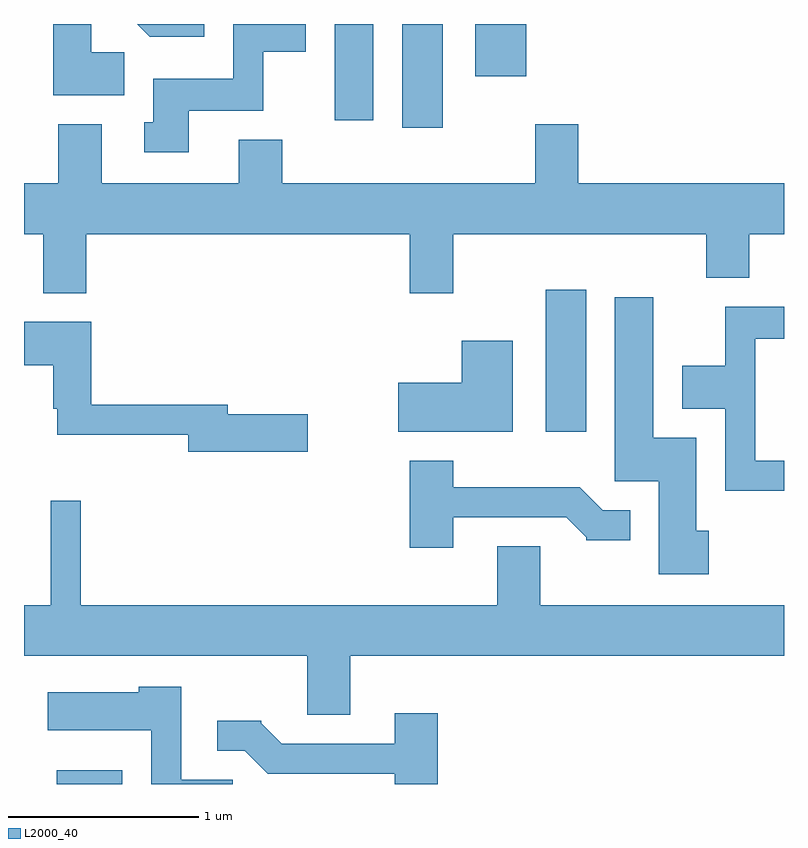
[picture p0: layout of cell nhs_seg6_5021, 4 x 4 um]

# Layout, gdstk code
import gdstk
lib = gdstk.Library(unit=1e-6, precision=1e-09)
def R(c, l, rs):  # rectangles x0, y0, x1, y1
    for r in rs: c.add(gdstk.rectangle(r[:2], r[2:], *l))
def P(c, l, *ps):  # polygons
    for p in ps: c.add(gdstk.Polygon(p, *l))
L2000_40 = (2000, 40)

nhs_seg6_5021 = lib.new_cell('nhs_seg6_5021')
R(nhs_seg6_5021, L2000_40, [(337.783,1638.162,338.129,1638.234), (340.356,1640.016,340.569,1640.764), (339.601,1641.616,339.814,1642.162), (339.246,1641.656,339.449,1642.162), (339.986,1641.886,340.254,1642.162)])
P(nhs_seg6_5021, L2000_40, [(338.559,1642.162),(338.208,1642.162),(338.274,1642.096),(338.559,1642.096)],
  [(338.479,1641.706),(338.869,1641.706),(338.869,1642.016),(339.094,1642.016),(339.094,1642.162),(338.711,1642.162),(338.711,1641.874),(338.291,1641.874),(338.291,1641.644),(338.243,1641.644),(338.243,1641.486),(338.479,1641.486)],
  [(338.139,1642.014),(337.964,1642.014),(337.964,1642.162),(337.766,1642.162),(337.766,1641.786),(338.139,1641.786)],
  [(337.939,1641.056),(339.641,1641.056),(339.641,1640.746),(339.869,1640.746),(339.869,1641.056),(341.201,1641.056),(341.201,1640.826),(341.429,1640.826),(341.429,1641.056),(341.611,1641.056),(341.611,1641.324),(340.529,1641.324),(340.529,1641.634),(340.301,1641.634),(340.301,1641.324),(338.969,1641.324),(338.969,1641.554),(338.741,1641.554),(338.741,1641.324),(338.019,1641.324),(338.019,1641.634),(337.791,1641.634),(337.791,1641.324),(337.611,1641.324),(337.611,1641.056),(337.711,1641.056),(337.711,1640.746),(337.939,1640.746)],
  [(341.214,1639.494),(341.149,1639.494),(341.149,1639.984),(340.924,1639.984),(340.924,1640.724),(340.721,1640.724),(340.721,1639.756),(340.951,1639.756),(340.951,1639.266),(341.214,1639.266)],
  [(341.611,1639.864),(341.459,1639.864),(341.459,1640.506),(341.611,1640.506),(341.611,1640.674),(341.301,1640.674),(341.301,1640.364),(341.076,1640.364),(341.076,1640.136),(341.301,1640.136),(341.301,1639.706),(341.611,1639.706)],
  [(339.104,1640.109),(338.684,1640.109),(338.684,1640.159),(337.964,1640.159),(337.964,1640.594),(337.611,1640.594),(337.611,1640.366),(337.766,1640.366),(337.766,1640.136),(337.786,1640.136),(337.786,1640.001),(338.476,1640.001),(338.476,1639.911),(339.104,1639.911)],
  [(340.184,1640.494),(339.916,1640.494),(339.916,1640.274),(339.581,1640.274),(339.581,1640.016),(340.184,1640.016)],
  [(339.869,1639.566),(340.464,1639.566),(340.57,1639.46),(340.57,1639.446),(340.803,1639.446),(340.803,1639.604),(340.657,1639.604),(340.537,1639.724),(339.869,1639.724),(339.869,1639.864),(339.641,1639.864),(339.641,1639.406),(339.869,1639.406)],
  [(339.329,1638.836),(341.611,1638.836),(341.611,1639.104),(340.329,1639.104),(340.329,1639.414),(340.101,1639.414),(340.101,1639.104),(337.909,1639.104),(337.909,1639.653),(337.751,1639.653),(337.751,1639.104),(337.611,1639.104),(337.611,1638.836),(339.101,1638.836),(339.101,1638.526),(339.329,1638.526)],
  [(338.709,1638.184),(338.439,1638.184),(338.439,1638.674),(338.216,1638.674),(338.216,1638.644),(337.736,1638.644),(337.736,1638.446),(338.281,1638.446),(338.281,1638.162),(338.709,1638.162)],
  [(339.789,1638.534),(339.561,1638.534),(339.561,1638.374),(338.967,1638.374),(338.86,1638.481),(338.86,1638.494),(338.628,1638.494),(338.628,1638.336),(338.774,1638.336),(338.894,1638.216),(339.561,1638.216),(339.561,1638.162),(339.789,1638.162)])

lib.write_gds('nhs_seg6_5021.gds')
